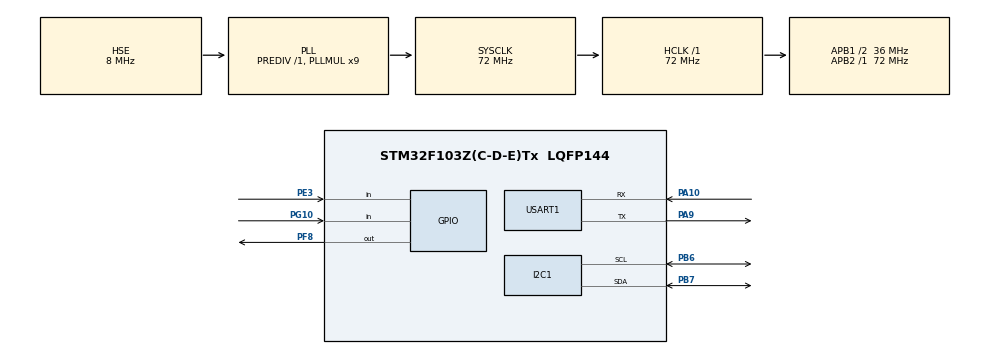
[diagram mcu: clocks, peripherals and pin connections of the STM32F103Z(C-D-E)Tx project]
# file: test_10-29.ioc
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Mcu.Family=STM32F1
Mcu.Name=STM32F103Z(C-D-E)Tx
Mcu.Package=LQFP144
NVIC.PriorityGroup=NVIC_PRIORITYGROUP_4
NVIC.USART1_IRQn=true\:0\:0\:false\:false\:true\:true\:true\:true
OSC_IN.Mode=HSE-External-Oscillator
OSC_IN.Signal=RCC_OSC_IN
OSC_OUT.Mode=HSE-External-Oscillator
OSC_OUT.Signal=RCC_OSC_OUT
PA10.Mode=Asynchronous
PA10.Signal=USART1_RX
PA13.Mode=Serial_Wire
PA13.Signal=SYS_JTMS-SWDIO
PA14.Mode=Serial_Wire
PA14.Signal=SYS_JTCK-SWCLK
PA9.Mode=Asynchronous
PA9.Signal=USART1_TX
PB6.Mode=I2C
PB6.Signal=I2C1_SCL
PB7.Mode=I2C
PB7.Signal=I2C1_SDA
PE3.GPIO_PuPd=GPIO_PULLUP
PE3.Signal=GPIO_Input
PF8.GPIO_ModeDefaultOutputPP=GPIO_MODE_OUTPUT_PP
PF8.GPIO_PuPd=GPIO_NOPULL
PF8.Signal=GPIO_Output
PG10.GPIO_PuPd=GPIO_PULLUP
PG10.Signal=GPIO_Input
ProjectManager.HeapSize=0x200
ProjectManager.StackSize=0x400
ProjectManager.TargetToolchain=MDK-ARM V5.32
RCC.AHBFreq_Value=72000000
RCC.APB1CLKDivider=RCC_HCLK_DIV2
RCC.APB1Freq_Value=36000000
RCC.APB1TimFreq_Value=72000000
RCC.APB2Freq_Value=72000000
RCC.APB2TimFreq_Value=72000000
RCC.HCLKFreq_Value=72000000
RCC.PLLMUL=RCC_PLL_MUL9
RCC.PLLSourceVirtual=RCC_PLLSOURCE_HSE
RCC.SYSCLKFreq_VALUE=72000000
RCC.SYSCLKSource=RCC_SYSCLKSOURCE_PLLCLK
RCC.USBFreq_Value=72000000
USART1.VirtualMode=VM_ASYNC
board=custom

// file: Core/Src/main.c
/* USER CODE BEGIN Header */
/**
  ******************************************************************************
  * @file           : main.c
  * @brief          : Main program body
  ******************************************************************************
  * @attention
  *
  * Copyright (c) 2026 STMicroelectronics.
  * All rights reserved.
  *
  * This software is licensed under terms that can be found in the LICENSE file
  * in the root directory of this software component.
  * If no LICENSE file comes with this software, it is provided AS-IS.
  *
  ******************************************************************************
  */
/* USER CODE END Header */
#include "main.h"

I2C_HandleTypeDef hi2c1;

UART_HandleTypeDef huart1;

void SystemClock_Config(void);
static void MX_GPIO_Init(void);
static void MX_USART1_UART_Init(void);
static void MX_I2C1_Init(void);

/* USER CODE BEGIN 0 */

#include <stdio.h>
int fputc(int ch, FILE *f)
{
  HAL_UART_Transmit(&huart1,(uint8_t *)&ch, 1, 100);
  return ch;
}

uint8_t rx_data;//接收单个字符的变�?

//串口接收中断回调函数
void HAL_UART_RxCpltCallback(UART_HandleTypeDef *huart)
{
  if(huart->Instance == USART1)
  {
    //1.把收到的字符原样发回给电脑（测试通信是否成功�?
    HAL_UART_Transmit(&huart1, &rx_data, 1, 100);

    //2.�?单的指令解析
    if (rx_data == 'a')
    {
      HAL_GPIO_TogglePin(GPIOF, GPIO_PIN_8);//翻转PF8的灯
      printf("\r\n收到'a', 灯已翻转！\r\n");
    }

    //3.重新�?启接收中断，准备接收下一个字�?
    HAL_UART_Receive_IT(&huart1, &rx_data, 1);

  }
}

/* USER CODE END 0 */

int main(void)
{

  /* MCU Configuration--------------------------------------------------------*/

  /* Reset of all peripherals, Initializes the Flash interface and the Systick. */
  HAL_Init();

  /* Configure the system clock */
  SystemClock_Config();

  /* Initialize all configured peripherals */
  MX_GPIO_Init();
  MX_USART1_UART_Init();
  MX_I2C1_Init();
  /* USER CODE BEGIN 2 */

  HAL_UART_Receive_IT(&huart1, &rx_data, 1);//启动第一次串口接收中�?

  /* USER CODE END 2 */

  /* Infinite loop */
  /* USER CODE BEGIN WHILE */
  while (1)
  {

    printf("Hello PC!\r\n");
    HAL_Delay(1000);
    /* USER CODE END WHILE */

  }
}

void SystemClock_Config(void)
{
  RCC_OscInitTypeDef RCC_OscInitStruct = {0};
  RCC_ClkInitTypeDef RCC_ClkInitStruct = {0};

  /** Initializes the RCC Oscillators according to the specified parameters
  * in the RCC_OscInitTypeDef structure.
  */
  RCC_OscInitStruct.OscillatorType = RCC_OSCILLATORTYPE_HSE;
  RCC_OscInitStruct.HSEState = RCC_HSE_ON;
  RCC_OscInitStruct.HSEPredivValue = RCC_HSE_PREDIV_DIV1;
  RCC_OscInitStruct.HSIState = RCC_HSI_ON;
  RCC_OscInitStruct.PLL.PLLState = RCC_PLL_ON;
  RCC_OscInitStruct.PLL.PLLSource = RCC_PLLSOURCE_HSE;
  RCC_OscInitStruct.PLL.PLLMUL = RCC_PLL_MUL9;
  if (HAL_RCC_OscConfig(&RCC_OscInitStruct) != HAL_OK)
  {
    Error_Handler();
  }

  /** Initializes the CPU, AHB and APB buses clocks
  */
  RCC_ClkInitStruct.ClockType = RCC_CLOCKTYPE_HCLK|RCC_CLOCKTYPE_SYSCLK
                              |RCC_CLOCKTYPE_PCLK1|RCC_CLOCKTYPE_PCLK2;
  RCC_ClkInitStruct.SYSCLKSource = RCC_SYSCLKSOURCE_PLLCLK;
  RCC_ClkInitStruct.AHBCLKDivider = RCC_SYSCLK_DIV1;
  RCC_ClkInitStruct.APB1CLKDivider = RCC_HCLK_DIV2;
  RCC_ClkInitStruct.APB2CLKDivider = RCC_HCLK_DIV1;

  if (HAL_RCC_ClockConfig(&RCC_ClkInitStruct, FLASH_LATENCY_2) != HAL_OK)
  {
    Error_Handler();
  }
}

static void MX_I2C1_Init(void)
{

  hi2c1.Instance = I2C1;
  hi2c1.Init.ClockSpeed = 100000;
  hi2c1.Init.DutyCycle = I2C_DUTYCYCLE_2;
  hi2c1.Init.OwnAddress1 = 0;
  hi2c1.Init.AddressingMode = I2C_ADDRESSINGMODE_7BIT;
  hi2c1.Init.DualAddressMode = I2C_DUALADDRESS_DISABLE;
  hi2c1.Init.OwnAddress2 = 0;
  hi2c1.Init.GeneralCallMode = I2C_GENERALCALL_DISABLE;
  hi2c1.Init.NoStretchMode = I2C_NOSTRETCH_DISABLE;
  if (HAL_I2C_Init(&hi2c1) != HAL_OK)
  {
    Error_Handler();
  }

}

static void MX_USART1_UART_Init(void)
{

  huart1.Instance = USART1;
  huart1.Init.BaudRate = 115200;
  huart1.Init.WordLength = UART_WORDLENGTH_8B;
  huart1.Init.StopBits = UART_STOPBITS_1;
  huart1.Init.Parity = UART_PARITY_NONE;
  huart1.Init.Mode = UART_MODE_TX_RX;
  huart1.Init.HwFlowCtl = UART_HWCONTROL_NONE;
  huart1.Init.OverSampling = UART_OVERSAMPLING_16;
  if (HAL_UART_Init(&huart1) != HAL_OK)
  {
    Error_Handler();
  }

}

static void MX_GPIO_Init(void)
{
  GPIO_InitTypeDef GPIO_InitStruct = {0};

  /* GPIO Ports Clock Enable */
  __HAL_RCC_GPIOE_CLK_ENABLE();
  __HAL_RCC_GPIOF_CLK_ENABLE();
  __HAL_RCC_GPIOA_CLK_ENABLE();
  __HAL_RCC_GPIOG_CLK_ENABLE();
  __HAL_RCC_GPIOB_CLK_ENABLE();

  /*Configure GPIO pin Output Level */
  HAL_GPIO_WritePin(GPIOF, GPIO_PIN_8, GPIO_PIN_RESET);

  /*Configure GPIO pin : PE3 */
  GPIO_InitStruct.Pin = GPIO_PIN_3;
  GPIO_InitStruct.Mode = GPIO_MODE_INPUT;
  GPIO_InitStruct.Pull = GPIO_PULLUP;
  HAL_GPIO_Init(GPIOE, &GPIO_InitStruct);

  /*Configure GPIO pin : PF8 */
  GPIO_InitStruct.Pin = GPIO_PIN_8;
  GPIO_InitStruct.Mode = GPIO_MODE_OUTPUT_PP;
  GPIO_InitStruct.Pull = GPIO_NOPULL;
  GPIO_InitStruct.Speed = GPIO_SPEED_FREQ_LOW;
  HAL_GPIO_Init(GPIOF, &GPIO_InitStruct);

  /*Configure GPIO pin : PG10 */
  GPIO_InitStruct.Pin = GPIO_PIN_10;
  GPIO_InitStruct.Mode = GPIO_MODE_INPUT;
  GPIO_InitStruct.Pull = GPIO_PULLUP;
  HAL_GPIO_Init(GPIOG, &GPIO_InitStruct);

}

void Error_Handler(void)
{
  __disable_irq();
  while (1)
  {
  }
}
